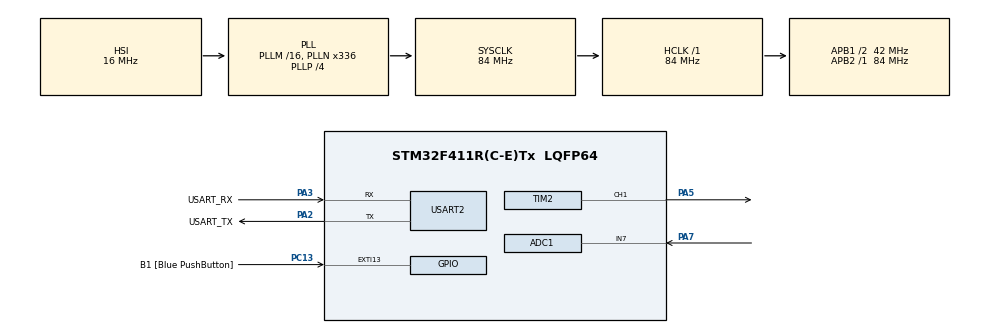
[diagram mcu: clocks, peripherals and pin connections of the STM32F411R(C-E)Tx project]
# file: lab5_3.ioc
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ADC1.Channel-9\#ChannelRegularConversion=ADC_CHANNEL_7
ADC1.NbrOfConversionFlag=1
ADC1.Rank-9\#ChannelRegularConversion=1
ADC1.SamplingTime-9\#ChannelRegularConversion=ADC_SAMPLETIME_3CYCLES
ADC1.master=1
Mcu.Family=STM32F4
Mcu.Name=STM32F411R(C-E)Tx
Mcu.Package=LQFP64
NVIC.PriorityGroup=NVIC_PRIORITYGROUP_0
PA13.GPIO_Label=TMS
PA13.Mode=Serial_Wire
PA13.Signal=SYS_JTMS-SWDIO
PA14.GPIO_Label=TCK
PA14.Mode=Serial_Wire
PA14.Signal=SYS_JTCK-SWCLK
PA2.GPIO_Label=USART_TX
PA2.Mode=Asynchronous
PA2.Signal=USART2_TX
PA3.GPIO_Label=USART_RX
PA3.Mode=Asynchronous
PA3.Signal=USART2_RX
PA5.Signal=S_TIM2_CH1_ETR
PA7.Signal=ADCx_IN7
PB3.GPIO_Label=SWO
PB3.Signal=SYS_JTDO-SWO
PC13-ANTI_TAMP.GPIO_Label=B1 [Blue PushButton]
PC13-ANTI_TAMP.GPIO_ModeDefaultEXTI=GPIO_MODE_IT_FALLING
PC13-ANTI_TAMP.Signal=GPXTI13
PC14-OSC32_IN.Mode=LSE-External-Oscillator
PC14-OSC32_IN.Signal=RCC_OSC32_IN
PC15-OSC32_OUT.Mode=LSE-External-Oscillator
PC15-OSC32_OUT.Signal=RCC_OSC32_OUT
PH0\ -\ OSC_IN.Mode=HSE-External-Clock-Source
PH0\ -\ OSC_IN.Signal=RCC_OSC_IN
PH1\ -\ OSC_OUT.Mode=HSE-External-Clock-Source
PH1\ -\ OSC_OUT.Signal=RCC_OSC_OUT
ProjectManager.HeapSize=0x200
ProjectManager.StackSize=0x400
ProjectManager.TargetToolchain=STM32CubeIDE
RCC.48MHZClocksFreq_Value=84000000
RCC.AHBFreq_Value=84000000
RCC.APB1CLKDivider=RCC_HCLK_DIV2
RCC.APB1Freq_Value=42000000
RCC.APB1TimFreq_Value=84000000
RCC.APB2Freq_Value=84000000
RCC.APB2TimFreq_Value=84000000
RCC.CortexFreq_Value=84000000
RCC.FLatency-AdvancedSettings=FLASH_LATENCY_2
RCC.HCLKFreq_Value=84000000
RCC.HSE_VALUE=8000000
RCC.HSI_VALUE=16000000
RCC.PLLN=336
RCC.PLLP=RCC_PLLP_DIV4
RCC.SYSCLKFreq_VALUE=84000000
RCC.SYSCLKSource=RCC_SYSCLKSOURCE_PLLCLK
RCC.VCOOutputFreq_Value=336000000
SH.ADCx_IN7.0=ADC1_IN7,IN7
SH.S_TIM2_CH1_ETR.0=TIM2_CH1,PWM Generation1 CH1
TIM2.Channel-PWM\ Generation1\ CH1=TIM_CHANNEL_1
TIM2.Period=100
USART2.VirtualMode=VM_ASYNC
VP_TIM2_VS_ClockSourceINT.Mode=Internal
board=NUCLEO-F411RE

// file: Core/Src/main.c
/* USER CODE BEGIN Header */
/**
  ******************************************************************************
  * @file           : main.c
  * @brief          : Main program body
  ******************************************************************************
  * @attention
  *
  * <h2><center>&copy; Copyright (c) 2021 STMicroelectronics.
  * All rights reserved.</center></h2>
  *
  * This software component is licensed by ST under BSD 3-Clause license,
  * the "License"; You may not use this file except in compliance with the
  * License. You may obtain a copy of the License at:
  *                        opensource.org/licenses/BSD-3-Clause
  *
  ******************************************************************************
  */
/* USER CODE END Header */
#include "main.h"

ADC_HandleTypeDef hadc1;

TIM_HandleTypeDef htim2;

UART_HandleTypeDef huart2;

void SystemClock_Config(void);
static void MX_GPIO_Init(void);
static void MX_USART2_UART_Init(void);
static void MX_TIM2_Init(void);
static void MX_ADC1_Init(void);

int main(void)
{
  /* USER CODE BEGIN 1 */
	uint32_t ldr_val, mn, mx;
	uint32_t pdc, c, p;
  /* USER CODE END 1 */

  /* MCU Configuration--------------------------------------------------------*/

  /* Reset of all peripherals, Initializes the Flash interface and the Systick. */
  HAL_Init();

  /* Configure the system clock */
  SystemClock_Config();

  /* Initialize all configured peripherals */
  MX_GPIO_Init();
  MX_USART2_UART_Init();
  MX_TIM2_Init();
  MX_ADC1_Init();
  /* USER CODE BEGIN 2 */
  HAL_ADC_Start(&hadc1);
  HAL_ADC_PollForConversion(&hadc1, 1);
  ldr_val = HAL_ADC_GetValue(&hadc1);
  mn = ldr_val;
  mx = ldr_val;
  HAL_TIM_PWM_Start(&htim2, TIM_CHANNEL_1);
  /* USER CODE END 2 */

  /* Infinite loop */
  /* USER CODE BEGIN WHILE */
  while (1)
  {
	  ldr_val = HAL_ADC_GetValue(&hadc1);
	  mx = max(mx, ldr_val);
	  mn = min(mn, ldr_val);

	  c = mx - ldr_val;
	  p = mx - mn;

	  pdc = (1 - (c/p)) * 100;
	  TIM2->CCR1 = pdc;
	  HAL_Delay(10);
    /* USER CODE END WHILE */
  }
}

void SystemClock_Config(void)
{
  RCC_OscInitTypeDef RCC_OscInitStruct = {0};
  RCC_ClkInitTypeDef RCC_ClkInitStruct = {0};

  /** Configure the main internal regulator output voltage
  */
  __HAL_RCC_PWR_CLK_ENABLE();
  __HAL_PWR_VOLTAGESCALING_CONFIG(PWR_REGULATOR_VOLTAGE_SCALE1);
  /** Initializes the RCC Oscillators according to the specified parameters
  * in the RCC_OscInitTypeDef structure.
  */
  RCC_OscInitStruct.OscillatorType = RCC_OSCILLATORTYPE_HSI;
  RCC_OscInitStruct.HSIState = RCC_HSI_ON;
  RCC_OscInitStruct.HSICalibrationValue = RCC_HSICALIBRATION_DEFAULT;
  RCC_OscInitStruct.PLL.PLLState = RCC_PLL_ON;
  RCC_OscInitStruct.PLL.PLLSource = RCC_PLLSOURCE_HSI;
  RCC_OscInitStruct.PLL.PLLM = 16;
  RCC_OscInitStruct.PLL.PLLN = 336;
  RCC_OscInitStruct.PLL.PLLP = RCC_PLLP_DIV4;
  RCC_OscInitStruct.PLL.PLLQ = 4;
  if (HAL_RCC_OscConfig(&RCC_OscInitStruct) != HAL_OK)
  {
    Error_Handler();
  }
  /** Initializes the CPU, AHB and APB buses clocks
  */
  RCC_ClkInitStruct.ClockType = RCC_CLOCKTYPE_HCLK|RCC_CLOCKTYPE_SYSCLK
                              |RCC_CLOCKTYPE_PCLK1|RCC_CLOCKTYPE_PCLK2;
  RCC_ClkInitStruct.SYSCLKSource = RCC_SYSCLKSOURCE_PLLCLK;
  RCC_ClkInitStruct.AHBCLKDivider = RCC_SYSCLK_DIV1;
  RCC_ClkInitStruct.APB1CLKDivider = RCC_HCLK_DIV2;
  RCC_ClkInitStruct.APB2CLKDivider = RCC_HCLK_DIV1;

  if (HAL_RCC_ClockConfig(&RCC_ClkInitStruct, FLASH_LATENCY_2) != HAL_OK)
  {
    Error_Handler();
  }
}

static void MX_ADC1_Init(void)
{

  ADC_ChannelConfTypeDef sConfig = {0};

  /** Configure the global features of the ADC (Clock, Resolution, Data Alignment and number of conversion)
  */
  hadc1.Instance = ADC1;
  hadc1.Init.ClockPrescaler = ADC_CLOCK_SYNC_PCLK_DIV4;
  hadc1.Init.Resolution = ADC_RESOLUTION_12B;
  hadc1.Init.ScanConvMode = DISABLE;
  hadc1.Init.ContinuousConvMode = DISABLE;
  hadc1.Init.DiscontinuousConvMode = DISABLE;
  hadc1.Init.ExternalTrigConvEdge = ADC_EXTERNALTRIGCONVEDGE_NONE;
  hadc1.Init.ExternalTrigConv = ADC_SOFTWARE_START;
  hadc1.Init.DataAlign = ADC_DATAALIGN_RIGHT;
  hadc1.Init.NbrOfConversion = 1;
  hadc1.Init.DMAContinuousRequests = DISABLE;
  hadc1.Init.EOCSelection = ADC_EOC_SINGLE_CONV;
  if (HAL_ADC_Init(&hadc1) != HAL_OK)
  {
    Error_Handler();
  }
  /** Configure for the selected ADC regular channel its corresponding rank in the sequencer and its sample time.
  */
  sConfig.Channel = ADC_CHANNEL_7;
  sConfig.Rank = 1;
  sConfig.SamplingTime = ADC_SAMPLETIME_3CYCLES;
  if (HAL_ADC_ConfigChannel(&hadc1, &sConfig) != HAL_OK)
  {
    Error_Handler();
  }

}

static void MX_TIM2_Init(void)
{

  TIM_ClockConfigTypeDef sClockSourceConfig = {0};
  TIM_MasterConfigTypeDef sMasterConfig = {0};
  TIM_OC_InitTypeDef sConfigOC = {0};

  htim2.Instance = TIM2;
  htim2.Init.Prescaler = 0;
  htim2.Init.CounterMode = TIM_COUNTERMODE_UP;
  htim2.Init.Period = 100;
  htim2.Init.ClockDivision = TIM_CLOCKDIVISION_DIV1;
  htim2.Init.AutoReloadPreload = TIM_AUTORELOAD_PRELOAD_DISABLE;
  if (HAL_TIM_Base_Init(&htim2) != HAL_OK)
  {
    Error_Handler();
  }
  sClockSourceConfig.ClockSource = TIM_CLOCKSOURCE_INTERNAL;
  if (HAL_TIM_ConfigClockSource(&htim2, &sClockSourceConfig) != HAL_OK)
  {
    Error_Handler();
  }
  if (HAL_TIM_PWM_Init(&htim2) != HAL_OK)
  {
    Error_Handler();
  }
  sMasterConfig.MasterOutputTrigger = TIM_TRGO_RESET;
  sMasterConfig.MasterSlaveMode = TIM_MASTERSLAVEMODE_DISABLE;
  if (HAL_TIMEx_MasterConfigSynchronization(&htim2, &sMasterConfig) != HAL_OK)
  {
    Error_Handler();
  }
  sConfigOC.OCMode = TIM_OCMODE_PWM1;
  sConfigOC.Pulse = 0;
  sConfigOC.OCPolarity = TIM_OCPOLARITY_HIGH;
  sConfigOC.OCFastMode = TIM_OCFAST_DISABLE;
  if (HAL_TIM_PWM_ConfigChannel(&htim2, &sConfigOC, TIM_CHANNEL_1) != HAL_OK)
  {
    Error_Handler();
  }
  HAL_TIM_MspPostInit(&htim2);

}

static void MX_USART2_UART_Init(void)
{

  huart2.Instance = USART2;
  huart2.Init.BaudRate = 115200;
  huart2.Init.WordLength = UART_WORDLENGTH_8B;
  huart2.Init.StopBits = UART_STOPBITS_1;
  huart2.Init.Parity = UART_PARITY_NONE;
  huart2.Init.Mode = UART_MODE_TX_RX;
  huart2.Init.HwFlowCtl = UART_HWCONTROL_NONE;
  huart2.Init.OverSampling = UART_OVERSAMPLING_16;
  if (HAL_UART_Init(&huart2) != HAL_OK)
  {
    Error_Handler();
  }

}

static void MX_GPIO_Init(void)
{
  GPIO_InitTypeDef GPIO_InitStruct = {0};

  /* GPIO Ports Clock Enable */
  __HAL_RCC_GPIOC_CLK_ENABLE();
  __HAL_RCC_GPIOH_CLK_ENABLE();
  __HAL_RCC_GPIOA_CLK_ENABLE();
  __HAL_RCC_GPIOB_CLK_ENABLE();

  /*Configure GPIO pin : B1_Pin */
  GPIO_InitStruct.Pin = B1_Pin;
  GPIO_InitStruct.Mode = GPIO_MODE_IT_FALLING;
  GPIO_InitStruct.Pull = GPIO_NOPULL;
  HAL_GPIO_Init(B1_GPIO_Port, &GPIO_InitStruct);

}

void Error_Handler(void)
{
  __disable_irq();
  while (1)
  {
  }
}

/************************ (C) COPYRIGHT STMicroelectronics *****END OF FILE****/
